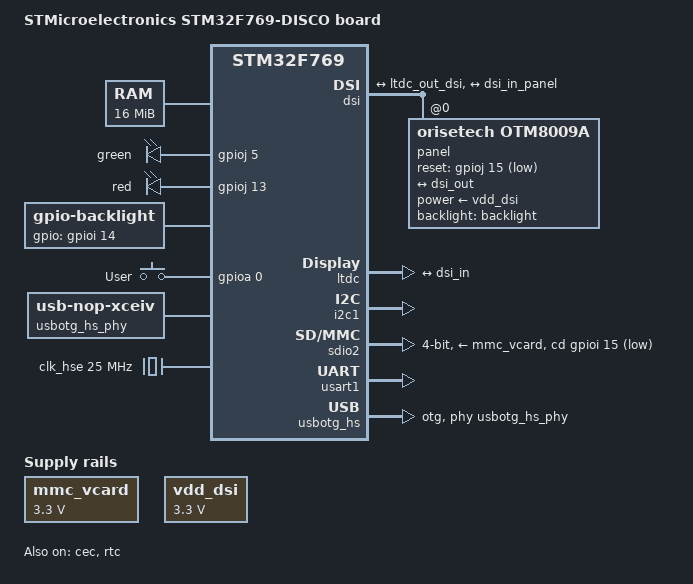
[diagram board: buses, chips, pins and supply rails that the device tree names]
/*
 * Copyright 2017 - Vikas MANOCHA <vikas.manocha@st.com>
 *
 * This file is dual-licensed: you can use it either under the terms
 * of the GPL or the X11 license, at your option. Note that this dual
 * licensing only applies to this file, and not this project as a
 * whole.
 *
 *  a) This file is free software; you can redistribute it and/or
 *     modify it under the terms of the GNU General Public License as
 *     published by the Free Software Foundation; either version 2 of the
 *     License, or (at your option) any later version.
 *
 *     This file is distributed in the hope that it will be useful,
 *     but WITHOUT ANY WARRANTY; without even the implied warranty of
 *     MERCHANTABILITY or FITNESS FOR A PARTICULAR PURPOSE.  See the
 *     GNU General Public License for more details.
 *
 * Or, alternatively,
 *
 *  b) Permission is hereby granted, free of charge, to any person
 *     obtaining a copy of this software and associated documentation
 *     files (the "Software"), to deal in the Software without
 *     restriction, including without limitation the rights to use,
 *     copy, modify, merge, publish, distribute, sublicense, and/or
 *     sell copies of the Software, and to permit persons to whom the
 *     Software is furnished to do so, subject to the following
 *     conditions:
 *
 *     The above copyright notice and this permission notice shall be
 *     included in all copies or substantial portions of the Software.
 *
 *     THE SOFTWARE IS PROVIDED "AS IS", WITHOUT WARRANTY OF ANY KIND,
 *     EXPRESS OR IMPLIED, INCLUDING BUT NOT LIMITED TO THE WARRANTIES
 *     OF MERCHANTABILITY, FITNESS FOR A PARTICULAR PURPOSE AND
 *     NONINFRINGEMENT. IN NO EVENT SHALL THE AUTHORS OR COPYRIGHT
 *     HOLDERS BE LIABLE FOR ANY CLAIM, DAMAGES OR OTHER LIABILITY,
 *     WHETHER IN AN ACTION OF CONTRACT, TORT OR OTHERWISE, ARISING
 *     FROM, OUT OF OR IN CONNECTION WITH THE SOFTWARE OR THE USE OR
 *     OTHER DEALINGS IN THE SOFTWARE.
 */

/dts-v1/;
#include "stm32f746.dtsi"
#include "stm32f769-pinctrl.dtsi"
#include <dt-bindings/input/input.h>
#include <dt-bindings/gpio/gpio.h>

/ {
	model = "STMicroelectronics STM32F769-DISCO board";
	compatible = "st,stm32f769-disco", "st,stm32f769";

	chosen {
		bootargs = "root=/dev/ram";
		stdout-path = "serial0:115200n8";
	};

	memory {
		device_type = "memory";
		reg = <0xC0000000 0x1000000>;
	};

	aliases {
		serial0 = &usart1;
	};

	leds {
		compatible = "gpio-leds";
		green {
			gpios = <&gpioj 5 GPIO_ACTIVE_HIGH>;
			linux,default-trigger = "heartbeat";
		};
		red {
			gpios = <&gpioj 13 GPIO_ACTIVE_HIGH>;
		};
	};

	backlight: backlight {
		compatible = "gpio-backlight";
		gpios = <&gpioi 14 GPIO_ACTIVE_HIGH>;
		status = "okay";
	};

	gpio_keys {
		compatible = "gpio-keys";
		#address-cells = <1>;
		#size-cells = <0>;
		autorepeat;
		button@0 {
			label = "User";
			linux,code = <KEY_HOME>;
			gpios = <&gpioa 0 GPIO_ACTIVE_HIGH>;
		};
	};

	usbotg_hs_phy: usb-phy {
		#phy-cells = <0>;
		compatible = "usb-nop-xceiv";
		clocks = <&rcc 0 STM32F7_AHB1_CLOCK(OTGHSULPI)>;
		clock-names = "main_clk";
	};

	mmc_vcard: mmc_vcard {
		compatible = "regulator-fixed";
		regulator-name = "mmc_vcard";
		regulator-min-microvolt = <3300000>;
		regulator-max-microvolt = <3300000>;
	};

	vdd_dsi: vdd-dsi {
		compatible = "regulator-fixed";
		regulator-name = "vdd_dsi";
		regulator-min-microvolt = <3300000>;
		regulator-max-microvolt = <3300000>;
	};
};

&dsi {
	#address-cells = <1>;
	#size-cells = <0>;
	phy-dsi-supply = <&vdd_dsi>;
	status = "okay";

	ports {
		#address-cells = <1>;
		#size-cells = <0>;

		port@0 {
			reg = <0>;
			dsi_in: endpoint {
				remote-endpoint = <&ltdc_out_dsi>;
			};
		};

		port@1 {
			reg = <1>;
			dsi_out: endpoint {
				remote-endpoint = <&dsi_in_panel>;
			};
		};

	};

	panel@0 {
		compatible = "orisetech,otm8009a";
		reg = <0>; /* dsi virtual channel (0..3) */
		reset-gpios = <&gpioj 15 GPIO_ACTIVE_LOW>;
		backlight = <&backlight>;
		power-supply = <&vdd_dsi>;
		status = "okay";

		port {
			dsi_in_panel: endpoint {
				remote-endpoint = <&dsi_out>;
			};
		};
	};
};

&ltdc {
	status = "okay";

	port {
		#address-cells = <1>;
		#size-cells = <0>;

		ltdc_out_dsi: endpoint@0 {
			reg = <0>;
			remote-endpoint = <&dsi_in>;
		};
	};
};

&rcc {
	compatible = "st,stm32f769-rcc", "st,stm32f746-rcc", "st,stm32-rcc";
};

&cec {
	pinctrl-0 = <&cec_pins_a>;
	pinctrl-names = "default";
	status = "okay";
};

&clk_hse {
	clock-frequency = <25000000>;
};

&i2c1 {
	pinctrl-0 = <&i2c1_pins_b>;
	pinctrl-names = "default";
	i2c-scl-rising-time-ns = <185>;
	i2c-scl-falling-time-ns = <20>;
	status = "okay";
};

&rtc {
	status = "okay";
};

&sdio2 {
	status = "okay";
	vmmc-supply = <&mmc_vcard>;
	cd-gpios = <&gpioi 15 GPIO_ACTIVE_LOW>;
	broken-cd;
	pinctrl-names = "default", "opendrain";
	pinctrl-0 = <&sdio_pins_b>;
	pinctrl-1 = <&sdio_pins_od_b>;
	bus-width = <4>;
};

&usart1 {
	pinctrl-0 = <&usart1_pins_a>;
	pinctrl-names = "default";
	status = "okay";
};

&usbotg_hs {
	dr_mode = "otg";
	phys = <&usbotg_hs_phy>;
	phy-names = "usb2-phy";
	pinctrl-0 = <&usbotg_hs_pins_a>;
	pinctrl-names = "default";
	status = "okay";
};

&dma1 {
	status = "okay";
};

&dma2 {
	status = "okay";
};
